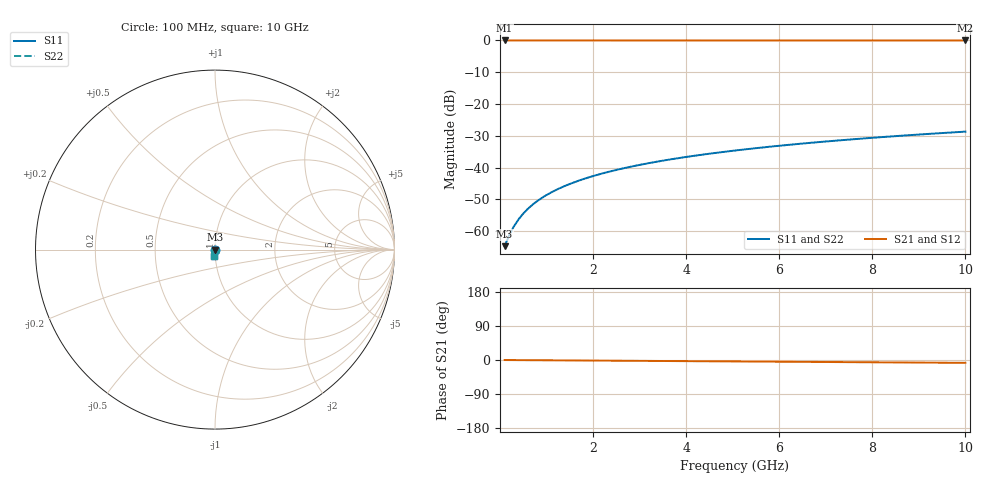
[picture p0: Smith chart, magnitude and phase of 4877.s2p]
# Hz S RI R 50.00
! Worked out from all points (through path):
!   100 points, 100 MHz to 10 GHz, reference 50 ohm
!   highest |S21| = 0.00 dB at 100 MHz (marker M1); lowest = 0.0 dB at 10 GHz (marker M2)
!   group delay of S21, straight-line fit = 2.09 ps
!   lowest |S11| = -64.7 dB at 100 MHz (marker M3), VSWR 1.00, Z = 50 - j0.0367 ohm
!   |S11| at or under -10 dB: start of sweep to end of sweep
!   |S22| runs from -64.7 to -28.7 dB; largest |S21 - S12| = 0
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1e8  0.000448 -0.000367  0.9995 -0.00131  0.9995 -0.00131  0.000448 -0.000367
2e8  0.000449 -0.000733  0.9995 -0.00262  0.9995 -0.00262  0.000449 -0.000733
3e8  0.000448 -0.0011  0.9995 -0.00393  0.9995 -0.00393  0.000448 -0.0011
4e8  0.000446 -0.00147  0.9995 -0.00523  0.9995 -0.00523  0.000446 -0.00147
5e8  0.000442 -0.00183  0.9995 -0.00654  0.9995 -0.00654  0.000442 -0.00183
6e8  0.000437 -0.0022  0.9995 -0.00785  0.9995 -0.00785  0.000437 -0.0022
7e8  0.000432 -0.00257  0.9995 -0.00916  0.9995 -0.00916  0.000432 -0.00257
9e8  0.000417 -0.0033  0.9995 -0.0118  0.9995 -0.0118  0.000417 -0.0033
1e9  0.000408 -0.00367  0.9994 -0.0131  0.9994 -0.0131  0.000408 -0.00367
1.2e9  0.000387 -0.0044  0.9994 -0.0157  0.9994 -0.0157  0.000387 -0.0044
1.5e9  0.000349 -0.0055  0.9993 -0.0196  0.9993 -0.0196  0.000349 -0.0055
1.8e9  0.000301 -0.0066  0.9992 -0.0236  0.9992 -0.0236  0.000301 -0.0066
2.1e9  0.000245 -0.0077  0.9991 -0.0275  0.9991 -0.0275  0.000245 -0.0077
2.5e9  0.000156 -0.00917  0.9989 -0.0327  0.9989 -0.0327  0.000156 -0.00917
2.9e9  5.13e-05 -0.0106  0.9987 -0.038  0.9987 -0.038  5.13e-05 -0.0106
3.4e9  -0.000101 -0.0125  0.9984 -0.0445  0.9984 -0.0445  -0.000101 -0.0125
4.2e9  -0.000395 -0.0154  0.9978 -0.055  0.9978 -0.055  -0.000395 -0.0154
5.1e9  -0.0008 -0.0187  0.9971 -0.0668  0.9971 -0.0668  -0.0008 -0.0187
5.9e9  -0.00123 -0.0216  0.9962 -0.0772  0.9962 -0.0772  -0.00123 -0.0216
6.7e9  -0.00171 -0.0245  0.9953 -0.0877  0.9953 -0.0877  -0.00171 -0.0245
8.4e9  -0.00295 -0.0307  0.9929 -0.11  0.9929 -0.11  -0.00295 -0.0307
1e10  -0.00438 -0.0365  0.9901 -0.1309  0.9901 -0.1309  -0.00438 -0.0365
